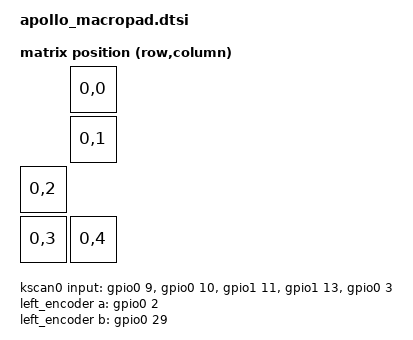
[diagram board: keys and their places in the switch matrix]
#include <dt-bindings/zmk/matrix_transform.h>
#include <physical_layouts.dtsi>
#include <zephyr/dt-bindings/input/input-event-codes.h>

/ {

    chosen {
        zmk,kscan = &kscan0;
        zmk,physical-layout = &physical_layout0;
        zephyr,display = &oled;
    };


    physical_layout0: physical_layout0 {
        compatible = "zmk,physical-layout";
        display-name = "Default Layout";
        transform = <&default_transform>;
        keys
           = <&key_physical_attrs 100 100 100   0   0   0   0> // SW1
           , <&key_physical_attrs 100 100 100 100   0   0   0> // SW2
           , <&key_physical_attrs 100 100   0 200   0   0   0> // SW3
           , <&key_physical_attrs 100 100   0 300   0   0   0> // SW4(兼EC11)
           , <&key_physical_attrs 100 100 100 300   0   0   0> // SW5
        ;
    };

    default_transform: keymap_transform0 {
        compatible = "zmk,matrix-transform";
        columns = <2>;
        rows = <4>;
        map = <
                    RC(0,0) 
                    RC(0,1)
            RC(0,2)
            RC(0,3) RC(0,4)
        >;
    };

    kscan0: kscan0 {
        compatible = "zmk,kscan-gpio-direct";
        wakeup-source;
        input-gpios
            = <&gpio0 9  (GPIO_ACTIVE_LOW | GPIO_PULL_UP)> // SW1 (P0.09)
            , <&gpio0 10 (GPIO_ACTIVE_LOW | GPIO_PULL_UP)> // SW2 (P0.10)
            , <&gpio1 11 (GPIO_ACTIVE_LOW | GPIO_PULL_UP)> // SW3 (P1.11)
            , <&gpio1 13 (GPIO_ACTIVE_LOW | GPIO_PULL_UP)> // SW4 (P1.13)
            , <&gpio0 3  (GPIO_ACTIVE_LOW | GPIO_PULL_UP)> // SW5 (P0.03)
            ;
    };

    left_encoder: encoder_left {
        compatible = "alps,ec11";
        a-gpios = <&gpio0 2  (GPIO_ACTIVE_LOW | GPIO_PULL_UP)>; // P0.02
        b-gpios = <&gpio0 29 (GPIO_ACTIVE_LOW | GPIO_PULL_UP)>; // P0.29
        steps = <80>;
        status = "okay";
    };

    sensors: sensors {
        compatible = "zmk,keymap-sensors";
        sensors = <&left_encoder>;
        triggers-per-rotation = <20>;
    };
};



&pinctrl {
    spi0_default: spi0_default {
        group1 {
            psels = <NRF_PSEL(SPIM_SCK, 0, 8)>,
                    <NRF_PSEL(SPIM_MOSI, 0, 6)>,
                    <NRF_PSEL(SPIM_MISO, 0, 6)>;
        };
    };

    spi0_sleep: spi0_sleep {
        group1 {
            psels = <NRF_PSEL(SPIM_SCK, 0, 8)>,
                    <NRF_PSEL(SPIM_MOSI, 0, 6)>,
                    <NRF_PSEL(SPIM_MISO, 0, 6)>;
            low-power-enable;
        };
    };
};

&spi0 {
    status = "okay";
    compatible = "nordic,nrf-spim";
    pinctrl-0 = <&spi0_default>;
    pinctrl-1 = <&spi0_sleep>;
    pinctrl-names = "default", "sleep";
    cs-gpios = <&gpio0 10 GPIO_ACTIVE_LOW>; // D7相当

    trackball: trackball@0 {
        status = "okay";
        compatible = "pixart,pmw3610";
        reg = <0>;
        spi-max-frequency = <2000000>;
        irq-gpios = <&gpio1 11 (GPIO_ACTIVE_LOW | GPIO_PULL_UP)>; // D8相当
        cpi = <600>;
        evt-type = <INPUT_EV_REL>;
        x-input-code = <INPUT_REL_X>;
        y-input-code = <INPUT_REL_Y>;
        force-awake;
    };
};

/ {
    trackball_listener: trackball_listener {
        compatible = "zmk,input-listener";
        device = <&trackball>;
        status = "okay";
    };
};
